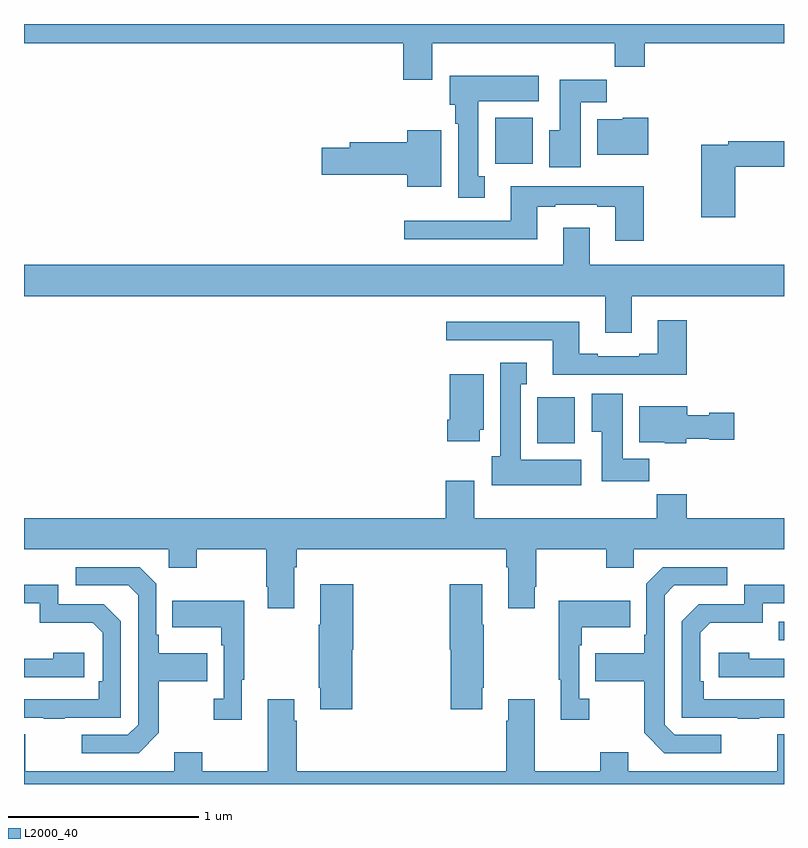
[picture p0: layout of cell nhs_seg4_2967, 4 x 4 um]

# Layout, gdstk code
import gdstk
lib = gdstk.Library(unit=1e-6, precision=1e-09)
def R(c, l, rs):  # rectangles x0, y0, x1, y1
    for r in rs: c.add(gdstk.rectangle(r[:2], r[2:], *l))
def P(c, l, *ps):  # polygons
    for p in ps: c.add(gdstk.Polygon(p, *l))
L2000_40 = (2000, 40)

nhs_seg4_2967 = lib.new_cell('nhs_seg4_2967')
R(nhs_seg4_2967, L2000_40, [(270.973,813.657,271,813.753), (269.702,814.694,269.899,814.936), (269.48,816.164,269.677,816.406)])
P(nhs_seg4_2967, L2000_40, [(269.149,816.8),(270.109,816.8),(270.109,816.676),(270.266,816.676),(270.266,816.8),(271,816.8),(271,816.9),(267,816.9),(267,816.8),(268.997,816.8),(268.997,816.606),(269.149,816.606)],
  [(269.425,816.098),(269.392,816.098),(269.392,816.494),(269.71,816.494),(269.71,816.628),(269.24,816.628),(269.24,816.474),(269.27,816.474),(269.27,816.374),(269.285,816.374),(269.285,815.985),(269.425,815.985)],
  [(269.929,816.488),(270.068,816.488),(270.068,816.607),(269.819,816.607),(269.819,816.34),(269.765,816.34),(269.765,816.147),(269.929,816.147)],
  [(270.286,816.406),(270.15,816.406),(270.15,816.4),(270.017,816.4),(270.017,816.212),(270.286,816.212)],
  [(269.197,816.34),(269.018,816.34),(269.018,816.278),(268.715,816.278),(268.715,816.248),(268.566,816.248),(268.566,816.106),(269.018,816.106),(269.018,816.044),(269.197,816.044)],
  [(270.743,816.148),(271,816.148),(271,816.284),(270.706,816.284),(270.706,816.264),(270.565,816.264),(270.565,815.883),(270.743,815.883)],
  [(270.261,816.046),(270.025,816.046),(270.025,816.045),(269.561,816.045),(269.561,815.865),(269.001,815.865),(269.001,815.768),(269.701,815.768),(269.701,815.937),(269.797,815.937),(269.797,815.949),(270.017,815.949),(270.017,815.937),(270.113,815.937),(270.113,815.76),(270.261,815.76)],
  [(269.977,815.827),(269.837,815.827),(269.837,815.632),(267,815.632),(267,815.468),(270.059,815.468),(270.059,815.274),(270.199,815.274),(270.199,815.468),(271,815.468),(271,815.632),(269.977,815.632)],
  [(270.488,815.341),(270.335,815.341),(270.335,815.164),(270.239,815.164),(270.239,815.151),(270.019,815.151),(270.019,815.164),(269.923,815.164),(269.923,815.332),(269.223,815.332),(269.223,815.235),(269.783,815.235),(269.783,815.055),(270.247,815.055),(270.247,815.054),(270.488,815.054)],
  [(269.932,814.606),(269.614,814.606),(269.614,815.003),(269.647,815.003),(269.647,815.116),(269.507,815.116),(269.507,814.626),(269.462,814.626),(269.462,814.472),(269.932,814.472)],
  [(269.398,814.764),(269.419,814.764),(269.419,815.056),(269.24,815.056),(269.24,814.816),(269.228,814.816),(269.228,814.704),(269.398,814.704)],
  [(270.29,814.612),(270.151,814.612),(270.151,814.954),(269.987,814.954),(269.987,814.753),(270.041,814.753),(270.041,814.494),(270.29,814.494)],
  [(270.486,814.718),(270.606,814.718),(270.606,814.711),(270.739,814.711),(270.739,814.853),(270.606,814.853),(270.606,814.84),(270.49,814.84),(270.49,814.888),(270.239,814.888),(270.239,814.7),(270.372,814.7),(270.372,814.694),(270.486,814.694)],
  [(268.423,814.04),(268.436,814.04),(268.436,814.136),(269.537,814.136),(269.537,814.04),(269.549,814.04),(269.549,813.825),(269.689,813.825),(269.689,813.937),(269.697,813.937),(269.697,814.136),(270.064,814.136),(270.064,814.037),(270.21,814.037),(270.21,814.136),(271,814.136),(271,814.3),(270.488,814.3),(270.488,814.424),(270.331,814.424),(270.331,814.3),(269.371,814.3),(269.371,814.495),(269.219,814.495),(269.219,814.3),(267,814.3),(267,814.136),(267.762,814.136),(267.762,814.037),(267.909,814.037),(267.909,814.136),(268.276,814.136),(268.276,813.937),(268.283,813.937),(268.283,813.825),(268.423,813.825)],
  [(267.709,813.169),(267.709,813.442),(267.965,813.442),(267.965,813.589),(267.709,813.589),(267.709,813.685),(267.696,813.685),(267.696,813.954),(267.609,814.041),(267.273,814.041),(267.273,813.945),(267.549,813.945),(267.6,813.894),(267.6,813.213),(267.546,813.159),(267.303,813.159),(267.303,813.063),(267.603,813.063)],
  [(270.67,813.159),(270.426,813.159),(270.372,813.213),(270.372,813.894),(270.423,813.945),(270.7,813.945),(270.7,814.041),(270.363,814.041),(270.276,813.954),(270.276,813.685),(270.264,813.685),(270.264,813.589),(270.007,813.589),(270.007,813.442),(270.264,813.442),(270.264,813.169),(270.369,813.063),(270.67,813.063)],
  [(268.727,813.606),(268.732,813.606),(268.732,813.952),(268.559,813.952),(268.559,813.737),(268.552,813.737),(268.552,813.406),(268.559,813.406),(268.559,813.294),(268.727,813.294)],
  [(269.413,813.406),(269.421,813.406),(269.421,813.737),(269.413,813.737),(269.413,813.952),(269.24,813.952),(269.24,813.606),(269.246,813.606),(269.246,813.294),(269.413,813.294)],
  [(270.869,813.249),(271,813.249),(271,813.345),(270.578,813.345),(270.578,813.442),(270.558,813.442),(270.558,813.696),(270.611,813.749),(270.888,813.749),(270.888,813.852),(271,813.852),(271,813.948),(270.792,813.948),(270.792,813.846),(270.552,813.846),(270.462,813.756),(270.462,813.249),(270.757,813.249),(270.757,813.244),(270.869,813.244)],
  [(267.215,813.249),(267.51,813.249),(267.51,813.756),(267.42,813.846),(267.18,813.846),(267.18,813.948),(267,813.948),(267,813.852),(267.084,813.852),(267.084,813.749),(267.361,813.749),(267.414,813.696),(267.414,813.442),(267.394,813.442),(267.394,813.345),(267,813.345),(267,813.249),(267.103,813.249),(267.103,813.244),(267.215,813.244)],
  [(269.974,813.35),(269.922,813.35),(269.922,813.629),(269.935,813.629),(269.935,813.725),(270.191,813.725),(270.191,813.865),(269.814,813.865),(269.814,813.449),(269.825,813.449),(269.825,813.237),(269.974,813.237)],
  [(268.147,813.449),(268.159,813.449),(268.159,813.865),(267.781,813.865),(267.781,813.725),(268.038,813.725),(268.038,813.629),(268.05,813.629),(268.05,813.35),(267.999,813.35),(267.999,813.237),(268.147,813.237)],
  [(267.316,813.592),(267.155,813.592),(267.155,813.558),(267,813.558),(267,813.462),(267.316,813.462)],
  [(271,813.558),(270.818,813.558),(270.818,813.592),(270.657,813.592),(270.657,813.462),(271,813.462)],
  [(271,813.163),(270.965,813.163),(270.965,812.968),(270.181,812.968),(270.181,813.067),(270.034,813.067),(270.034,812.968),(269.689,812.968),(269.689,813.346),(269.549,813.346),(269.549,813.233),(269.537,813.233),(269.537,812.968),(268.436,812.968),(268.436,813.233),(268.423,813.233),(268.423,813.346),(268.283,813.346),(268.283,812.968),(267.939,812.968),(267.939,813.067),(267.791,813.067),(267.791,812.968),(267.007,812.968),(267.007,813.163),(267,813.163),(267,812.9),(271,812.9)])

lib.write_gds('nhs_seg4_2967.gds')
